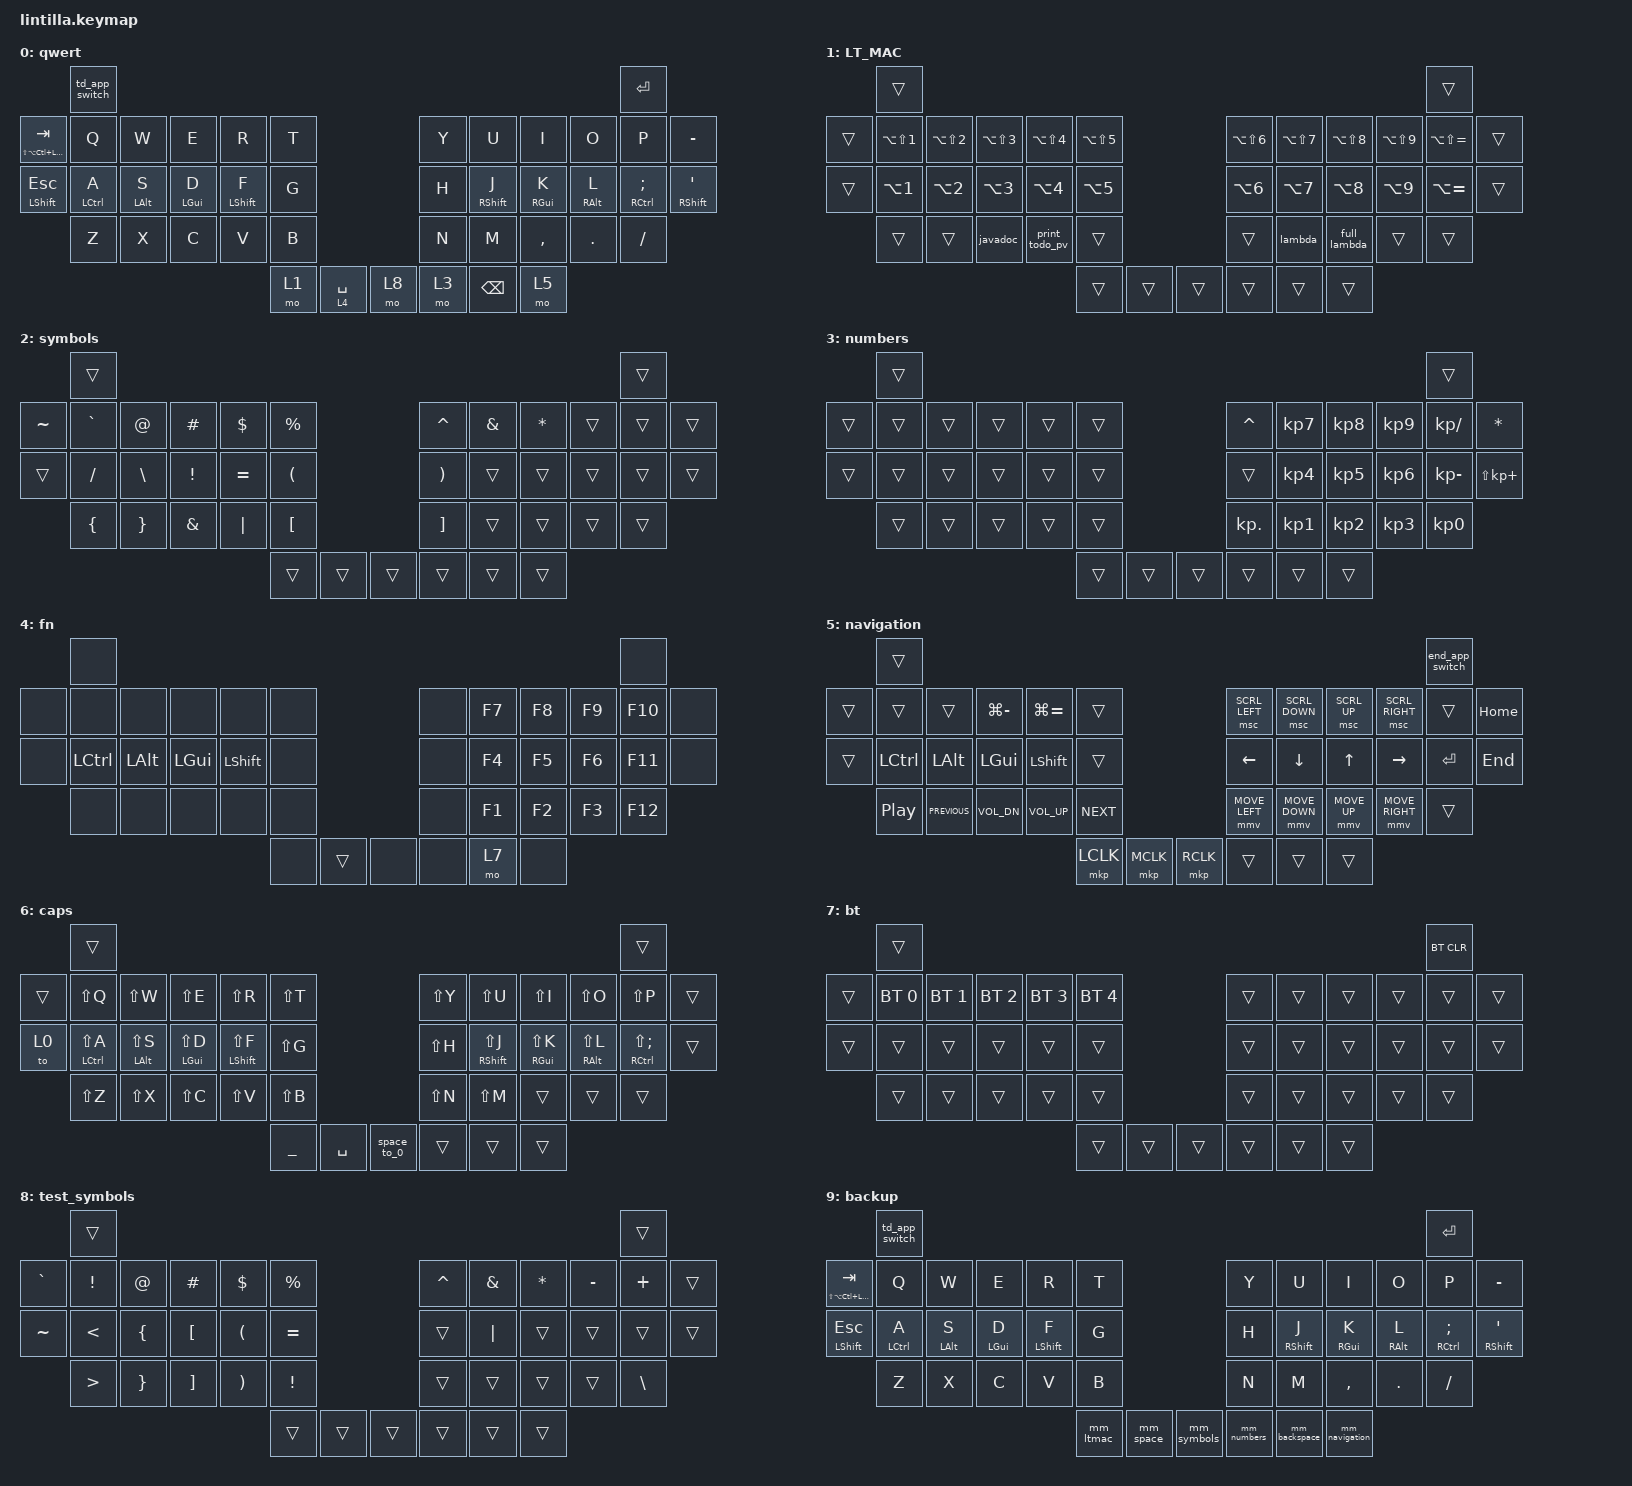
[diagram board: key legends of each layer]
#include <behaviors/rgbled_widget.dtsi>
#include <behaviors.dtsi>
#include <dt-bindings/zmk/bt.h>
#include <dt-bindings/zmk/keys.h>
#include <dt-bindings/zmk/outputs.h>
#include <dt-bindings/zmk/pointing.h>

/ {
    behaviors {
        bt_sel_0: bt_select_0 {
            compatible = "zmk,behavior-mod-morph";
            bindings = <&bt_sel 0>, <&bt_clr 0>;

            #binding-cells = <0>;
            mods = <(MOD_LSFT)>;
        };

        bt_sel_1: bt_select_1 {
            compatible = "zmk,behavior-mod-morph";
            bindings = <&bt_sel 1>, <&bt_clr 1>;

            #binding-cells = <0>;
            mods = <(MOD_LSFT)>;
        };

        bt_sel_2: bt_select_2 {
            compatible = "zmk,behavior-mod-morph";
            bindings = <&bt_sel 2>, <&bt_clr 2>;

            #binding-cells = <0>;
            mods = <(MOD_LSFT)>;
        };

        bt_sel_3: bt_select_3 {
            compatible = "zmk,behavior-mod-morph";
            bindings = <&bt_sel 3>, <&bt_clr 3>;

            #binding-cells = <0>;
            mods = <(MOD_LSFT)>;
        };

        bt_sel_4: bt_select_4 {
            compatible = "zmk,behavior-mod-morph";
            bindings = <&bt_sel 4>, <&bt_clr 4>;

            #binding-cells = <0>;
            mods = <(MOD_LSFT)>;
        };

        ht_hyper: hold_tap_hyper {
            compatible = "zmk,behavior-hold-tap";
            bindings = <&kp>, <&kp>;

            #binding-cells = <2>;
            tapping-term-ms = <200>;
            quick-tap-ms = <125>;
            require-prior-idle-ms = <70>;
        };

        hrm_left: home_row_left {
            compatible = "zmk,behavior-hold-tap";
            bindings = <&kp>, <&kp>;

            #binding-cells = <2>;
            tapping-term-ms = <230>;
            quick-tap-ms = <175>;
            require-prior-idle-ms = <60>;
            hold-trigger-key-positions = <39 40 41 8 31 8 9 11 12 13 20 21 22 23 24 25 31 32 33 34 35 41 10 1 36 37 38>;
            flavor = "balanced";
            hold-trigger-on-release;
        };

        hrm_right: home_row_right {
            compatible = "zmk,behavior-hold-tap";
            bindings = <&kp>, <&kp>;

            #binding-cells = <2>;
            tapping-term-ms = <230>;
            quick-tap-ms = <175>;
            require-prior-idle-ms = <60>;
            hold-trigger-key-positions = <0 2 3 4 5 6 7 14 15 16 17 18 19 26 27 28 29 30 36 37 38 39 40 41>;
            flavor = "balanced";
            hold-trigger-on-release;
        };

        ht_shift: ht_shift {
            compatible = "zmk,behavior-hold-tap";
            bindings = <&kp>, <&kp>;

            #binding-cells = <2>;
            tapping-term-ms = <200>;
            flavor = "hold-preferred";
            label = "HT_SHIFT";
        };

        mm_ltmac: mm_ltmac {
            compatible = "zmk,behavior-mod-morph";
            label = "MM_LTMAC";
            bindings = <&mo 1>, <&kp LEFT_BRACKET>;

            #binding-cells = <0>;
            mods = <(MOD_LSFT)>;
        };

        mm_space: mm_space {
            compatible = "zmk,behavior-mod-morph";
            label = "MM_SPACE";
            bindings = <&lt 4 SPACE>, <&kp LEFT_PARENTHESIS>;

            #binding-cells = <0>;
            mods = <(MOD_LSFT)>;
        };

        mm_symbols: mm_symbols {
            compatible = "zmk,behavior-mod-morph";
            label = "MM_SYMBOLS";
            bindings = <&mo 8>, <&kp LEFT_BRACE>;

            #binding-cells = <0>;
            mods = <(MOD_LSFT)>;
        };

        mm_numbers: mm_numbers {
            compatible = "zmk,behavior-mod-morph";
            label = "MM_NUMBERS";
            bindings = <&mo 3>, <&kp RIGHT_BRACE>;

            #binding-cells = <0>;
            mods = <(MOD_RSFT)>;
        };

        mm_backspace: mm_backspace {
            compatible = "zmk,behavior-mod-morph";
            label = "MM_BACKSPACE";
            bindings = <&kp BACKSPACE>, <&kp RIGHT_PARENTHESIS>;

            #binding-cells = <0>;
            mods = <(MOD_RSFT)>;
        };

        mm_navigation: mm_navigation {
            compatible = "zmk,behavior-mod-morph";
            label = "MM_NAVIGATION";
            bindings = <&mo 5>, <&kp RIGHT_BRACKET>;

            #binding-cells = <0>;
            mods = <(MOD_RSFT)>;
        };

        td_app_switch: td_app_switch {
            compatible = "zmk,behavior-tap-dance";
            label = "TD_APP_SWITCH";
            #binding-cells = <0>;
            bindings = <&kp LG(TAB)>, <&start_app_switch>;
        };
    };

    conditional_layers { compatible = "zmk,conditional-layers"; };

    macros {
        bt_sel: bt_select {
            compatible = "zmk,behavior-macro-one-param";
            #binding-cells = <1>;
            bindings = <&out OUT_BLE &macro_param_1to2 &bt BT_SEL MACRO_PLACEHOLDER>;
        };

        bt_clr: bt_clear {
            compatible = "zmk,behavior-macro-one-param";
            #binding-cells = <1>;
            bindings = <&macro_param_1to2 &bt BT_SEL MACRO_PLACEHOLDER &bt BT_CLR>;
        };

        print_todo_pv: print_todo_pv {
            compatible = "zmk,behavior-macro";
            #binding-cells = <0>;
            bindings = <&kp FSLH &kp FSLH &kp SPACE &kp LS(T) &kp LS(O) &kp LS(D) &kp LS(O) &kp SPACE &kp LS(P) &kp LS(V) &kp COLON &kp SPACE>;
            label = "PRINT_TODO_PV";
        };

        lambda: lambda {
            compatible = "zmk,behavior-macro";
            #binding-cells = <0>;
            bindings = <&kp SPACE &kp MINUS &kp GT &kp SPACE>;
            label = "LAMBDA";
        };

        full_lambda: full_lambda {
            compatible = "zmk,behavior-macro";
            #binding-cells = <0>;
            bindings =
                <&kp LPAR &kp RPAR &kp SPACE &kp MINUS &kp GT &kp SPACE &kp LBRC &kp RBRC>,
                <&macro_wait_time 30>,
                <&kp LEFT_ARROW &kp LEFT_ARROW &kp LEFT_ARROW &kp LEFT_ARROW &kp LEFT_ARROW &kp LEFT_ARROW &kp LEFT_ARROW>;

            label = "FULL_LAMBDA";
        };

        full_brackets: full_brackets {
            compatible = "zmk,behavior-macro";
            #binding-cells = <0>;
            bindings =
                <&kp LBKT &kp RBKT>,
                <&macro_wait_time 30>,
                <&kp LEFT_ARROW>;

            label = "FULL_BRACKETS";
        };

        full_paranthesis: full_paranthesis {
            compatible = "zmk,behavior-macro";
            #binding-cells = <0>;
            bindings =
                <&kp LPAR &kp RPAR>,
                <&macro_wait_time 30>,
                <&kp LEFT_ARROW>;

            label = "FULL_PARANTHESIS";
        };

        full_braces: full_braces {
            compatible = "zmk,behavior-macro";
            #binding-cells = <0>;
            bindings =
                <&kp LBRC &kp RBRC>,
                <&macro_wait_time 30>,
                <&kp LEFT_ARROW>;

            label = "FULL_BRACES";
        };

        full_greater_less: full_greater_less {
            compatible = "zmk,behavior-macro";
            #binding-cells = <0>;
            bindings = <&kp LT &kp GT>, <&macro_wait_time 30>, <&kp LEFT_ARROW>;

            label = "FULL_GREATER_LESS";
        };

        javadoc: javadoc {
            compatible = "zmk,behavior-macro";
            #binding-cells = <0>;
            bindings = <&kp FSLH &kp STAR &kp STAR &kp RET>;
            label = "JAVADOC";
        };

        space_to_0: space_to_0 {
            compatible = "zmk,behavior-macro";
            #binding-cells = <0>;
            bindings = <&kp SPACE &to 0>;
            label = "SPACE_TO_0";
        };

        start_app_switch: enter_app_switch_window {
            compatible = "zmk,behavior-macro";
            #binding-cells = <0>;
            bindings = <&kt LGUI &kp TAB &to 5>;
            label = "ENTER_APP_SWITCH_WINDOW";
        };

        end_app_switch: end_app_switch {
            compatible = "zmk,behavior-macro";
            #binding-cells = <0>;
            bindings = <&kt LGUI &to 0>;
            label = "END_APP_SWITCH";
        };
    };

    combos {
        compatible = "zmk,combos";

        copy {
            bindings = <&kp LG(C)>;
            key-positions = <27 28>;
            layers = <0 6>;
        };

        paste {
            bindings = <&kp LG(V)>;
            key-positions = <27 29>;
            layers = <0 6>;
        };

        screenshot {
            bindings = <&kp LG(LA(C))>;
            key-positions = <27 29 28>;
            layers = <0 6>;
        };

        undo {
            bindings = <&kp LG(Z)>;
            key-positions = <18 19>;
            layers = <0 6>;
        };

        redo {
            bindings = <&kp LG(LS(Z))>;
            key-positions = <21 20>;
            layers = <0 6>;
        };

        vol_up {
            bindings = <&kp C_VOLUME_UP>;
            key-positions = <6 7>;
            layers = <0 6>;
            require-prior-idle-ms = <200>;
        };

        vol_down {
            bindings = <&kp C_VOL_DN>;
            key-positions = <29 30>;
            layers = <0 6>;
            require-prior-idle-ms = <200>;
        };

        zoom_in {
            bindings = <&kp LG(EQUAL)>;
            key-positions = <8 9>;
            layers = <0 6>;
            require-prior-idle-ms = <200>;
        };

        zoom_out {
            bindings = <&kp LG(MINUS)>;
            key-positions = <31 32>;
            layers = <0 6>;
            require-prior-idle-ms = <200>;
        };

        to_caps {
            bindings = <&to 6>;
            key-positions = <4 5 6>;
            layers = <0 6>;
        };
    };

    keymap {
        compatible = "zmk,keymap";

        alphas_mac {
            bindings = <
                                &td_app_switch                                                                                                                                                                                    &kp ENTER
&ht_hyper LS(LA(LC(LGUI))) TAB  &kp Q              &kp W             &kp E             &kp R                   &kp T                                            &kp Y  &kp U                &kp I              &kp O              &kp P                       &kp MINUS
&ht_shift LSHFT ESCAPE          &hrm_left LCTRL A  &hrm_left LALT S  &hrm_left LGUI D  &hrm_left LEFT_SHIFT F  &kp G                                            &kp H  &hrm_right RSHIFT J  &hrm_right RGUI K  &hrm_right RALT L  &hrm_right RCTRL SEMICOLON  &ht_shift RSHFT SINGLE_QUOTE
                                &kp Z              &kp X             &kp C             &kp V                   &kp B                                            &kp N  &kp M                &kp COMMA          &kp PERIOD         &kp SLASH
                                                                                                               &mo 1  &lt 4 SPACE  &mo 8  &mo 3  &kp BACKSPACE  &mo 5
            >;

            label = "qwert";
        };

        LT_MAC {
            bindings = <
        &trans                                                                                                                                                                                                                                &trans
&trans  &kp LA(LS(NUMBER_1))  &kp LA(LS(NUMBER_2))  &kp LA(LS(NUMBER_3))  &kp LA(LS(NUMBER_4))  &kp LA(LS(NUMBER_5))                                  &kp LA(LS(NUMBER_6))  &kp LA(LS(NUMBER_7))  &kp LA(LS(NUMBER_8))  &kp LA(LS(NUMBER_9))  &kp LA(LS(EQUAL))  &trans
&trans  &kp LA(NUMBER_1)      &kp LA(NUMBER_2)      &kp LA(NUMBER_3)      &kp LA(NUMBER_4)      &kp LA(NUMBER_5)                                      &kp LA(NUMBER_6)      &kp LA(NUMBER_7)      &kp LA(NUMBER_8)      &kp LA(NUMBER_9)      &kp LA(EQUAL)      &trans
        &trans                &trans                &javadoc              &print_todo_pv        &trans                                                &trans                &lambda               &full_lambda          &trans                &trans
                                                                                                &trans                &trans  &trans  &trans  &trans  &trans
            >;
        };

        symbols {
            bindings = <
           &trans                                                                                                                                                                          &trans
&kp TILDE  &kp GRAVE       &kp AT           &kp POUND        &kp DOLLAR  &kp PERCENT                                           &kp CARET              &kp AMPERSAND  &kp ASTERISK  &trans  &trans  &trans
&trans     &kp SLASH       &kp BACKSLASH    &kp EXCLAMATION  &kp EQUAL   &kp LEFT_PARENTHESIS                                  &kp RIGHT_PARENTHESIS  &trans         &trans        &trans  &trans  &trans
           &kp LEFT_BRACE  &kp RIGHT_BRACE  &kp AMPERSAND    &kp PIPE    &kp LEFT_BRACKET                                      &kp RIGHT_BRACKET      &trans         &trans        &trans  &trans
                                                                         &trans                &trans  &trans  &trans  &trans  &trans
            >;
        };

        numbers {
            bindings = <
        &trans                                                                                                               &trans
&trans  &trans  &trans  &trans  &trans  &trans                                  &kp CARET   &kp KP_N7  &kp KP_N8  &kp KP_N9  &kp KP_DIVIDE  &kp ASTERISK
&trans  &trans  &trans  &trans  &trans  &trans                                  &trans      &kp KP_N4  &kp KP_N5  &kp KP_N6  &kp KP_MINUS   &kp LS(KP_PLUS)
        &trans  &trans  &trans  &trans  &trans                                  &kp KP_DOT  &kp KP_N1  &kp KP_N2  &kp KP_N3  &kp KP_N0
                                        &trans  &trans  &trans  &trans  &trans  &trans
            >;
        };

        fn {
            bindings = <
       &none                                                                                                        &none
&none  &none      &none     &none     &none      &none                               &none  &kp F7  &kp F8  &kp F9  &kp F10  &none
&none  &kp LCTRL  &kp LALT  &kp LGUI  &kp LSHFT  &none                               &none  &kp F4  &kp F5  &kp F6  &kp F11  &none
       &none      &none     &none     &none      &none                               &none  &kp F1  &kp F2  &kp F3  &kp F12
                                                 &none  &trans  &none  &none  &mo 7  &none
            >;
        };

        navigation {
            bindings = <
        &trans                                                                                                                                                                           &end_app_switch
&trans  &trans            &trans          &kp LG(MINUS)  &kp LG(EQUAL)  &trans                                            &msc SCRL_LEFT  &msc SCRL_DOWN  &msc SCRL_UP  &msc SCRL_RIGHT  &trans           &kp HOME
&trans  &kp LCTRL         &kp LALT        &kp LGUI       &kp LSHFT      &trans                                            &kp LEFT        &kp DOWN        &kp UP        &kp RIGHT        &kp ENTER        &kp END
        &kp C_PLAY_PAUSE  &kp C_PREVIOUS  &kp C_VOL_DN   &kp C_VOL_UP   &kp C_NEXT                                        &mmv MOVE_LEFT  &mmv MOVE_DOWN  &mmv MOVE_UP  &mmv MOVE_RIGHT  &trans
                                                                        &mkp LCLK   &mkp MCLK  &mkp RCLK  &trans  &trans  &trans
            >;
        };

        caps {
            bindings = <
        &trans                                                                                                                                                                                                                               &trans
&trans  &kp LS(Q)              &kp LS(W)             &kp LS(E)             &kp LS(R)               &kp LS(T)                                               &kp LS(Y)  &kp LS(U)                &kp LS(I)              &kp LS(O)              &kp LS(P)                  &trans
&to 0   &hrm_left LCTRL LS(A)  &hrm_left LALT LS(S)  &hrm_left LGUI LS(D)  &hrm_left LSHIFT LS(F)  &kp LS(G)                                               &kp LS(H)  &hrm_right RSHIFT LS(J)  &hrm_right RGUI LS(K)  &hrm_right RALT LS(L)  &hrm_right RCTRL LS(SEMI)  &trans
        &kp LS(Z)              &kp LS(X)             &kp LS(C)             &kp LS(V)               &kp LS(B)                                               &kp LS(N)  &kp LS(M)                &trans                 &trans                 &trans
                                                                                                   &kp UNDERSCORE  &kp SPACE  &space_to_0  &trans  &trans  &trans
            >;
        };

        bt {
            bindings = <
        &trans                                                                                                                                &bt BT_CLR
&trans  &bt BT_SEL 0  &bt BT_SEL 1  &bt BT_SEL 2  &bt BT_SEL 3  &bt BT_SEL 4                                  &trans  &trans  &trans  &trans  &trans      &trans
&trans  &trans        &trans        &trans        &trans        &trans                                        &trans  &trans  &trans  &trans  &trans      &trans
        &trans        &trans        &trans        &trans        &trans                                        &trans  &trans  &trans  &trans  &trans
                                                                &trans        &trans  &trans  &trans  &trans  &trans
            >;
        };

        test_symbols {
            bindings = <
           &trans                                                                                                                                                                           &trans
&kp GRAVE  &kp EXCLAMATION   &kp AT_SIGN      &kp HASH           &kp DOLLAR             &kp PERCENT                                      &kp CARET  &kp AMPERSAND  &kp ASTERISK  &kp MINUS  &kp PLUS       &trans
&kp TILDE  &kp LESS_THAN     &kp LEFT_BRACE   &kp LEFT_BRACKET   &kp LEFT_PARENTHESIS   &kp EQUAL                                        &trans     &kp PIPE       &trans        &trans     &trans         &trans
           &kp GREATER_THAN  &kp RIGHT_BRACE  &kp RIGHT_BRACKET  &kp RIGHT_PARENTHESIS  &kp EXCLAMATION                                  &trans     &trans         &trans        &trans     &kp BACKSLASH
                                                                                        &trans           &trans  &trans  &trans  &trans  &trans
            >;
        };

        alpha_backup {
            label = "backup";
            bindings = <
                                &td_app_switch                                                                                                                                                                                                           &kp ENTER
&ht_hyper LS(LA(LC(LGUI))) TAB  &kp Q              &kp W             &kp E             &kp R                   &kp T                                                          &kp Y           &kp U                &kp I              &kp O              &kp P                       &kp MINUS
&ht_shift LSHFT ESCAPE          &hrm_left LCTRL A  &hrm_left LALT S  &hrm_left LGUI D  &hrm_left LEFT_SHIFT F  &kp G                                                          &kp H           &hrm_right RSHIFT J  &hrm_right RGUI K  &hrm_right RALT L  &hrm_right RCTRL SEMICOLON  &ht_shift RSHFT SINGLE_QUOTE
                                &kp Z              &kp X             &kp C             &kp V                   &kp B                                                          &kp N           &kp M                &kp COMMA          &kp PERIOD         &kp SLASH
                                                                                                               &mm_ltmac  &mm_space  &mm_symbols  &mm_numbers  &mm_backspace  &mm_navigation
            >;
        };
    };
};

// vim: expandtab softtabstop=4 shiftwidth=4 filetype=dts
